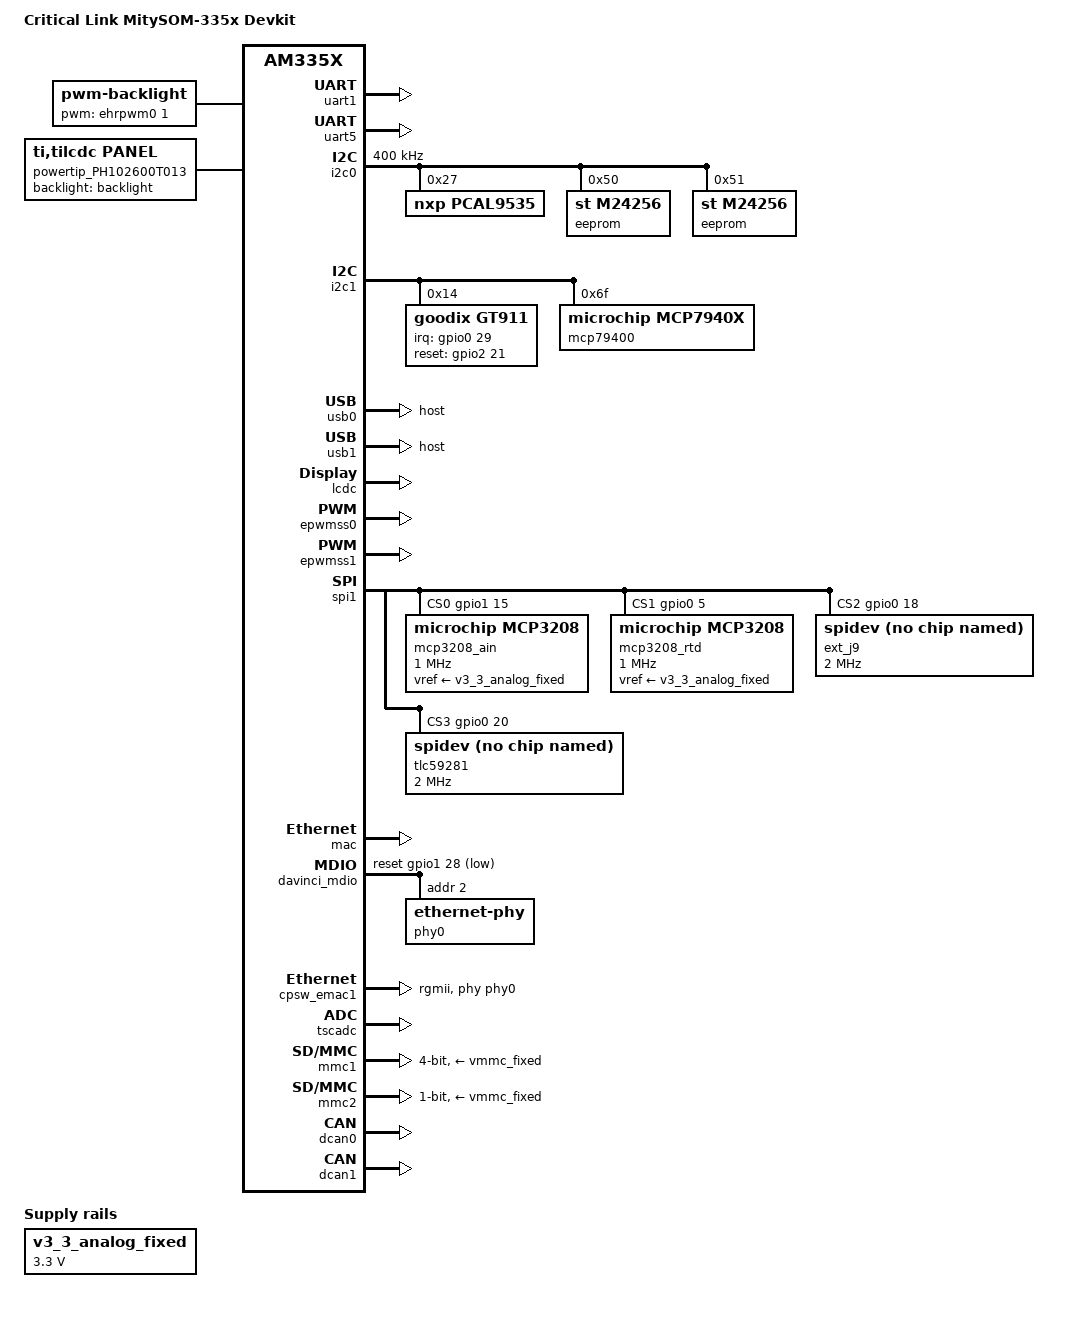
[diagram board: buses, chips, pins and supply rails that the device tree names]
/*
 * Copyright (C) 2012 Texas Instruments Incorporated - http://www.ti.com/
 *
 * This program is free software; you can redistribute it and/or modify
 * it under the terms of the GNU General Public License version 2 as
 * published by the Free Software Foundation.
 */
/dts-v1/;

#include "am335x-mitysom-common.dtsi"

/ {
	model = "Critical Link MitySOM-335x Devkit";

	backlight: backlight {
		compatible = "pwm-backlight";
		pwms = <&ehrpwm0 1 50000 0>;
		brightness-levels = <0 51 53 56 62 75 101 152 255>;
		default-brightness-level = <8>;
	};

	powertip_PH102600T013: lcd-controller@1 {
		compatible = "ti,tilcdc,panel";
		pinctrl-names = "default", "sleep";
		pinctrl-0 = <&lcd_pins_default>;
		pinctrl-1 = <&lcd_pins_sleep>;
		status = "ok";
		model = "powertip,PH102600T013";

		backlight = <&backlight>;
		// enable-gpios = <&gpio3 8 GPIO_ACTIVE_HIGH>;

		panel-info {
			ac-bias           = <255>;
			ac-bias-intrpt    = <0>;
			dma-burst-sz      = <16>;
			bpp               = <16>;
			fdd               = <0x80>;
			sync-edge         = <0>;
			sync-ctrl         = <1>;
			raster-order      = <0>;
			fifo-th           = <0>;
		};
		display-timings {
			1024x600 {
				clock-frequency = <51200000>;
				hactive = <1024>;
				vactive = <600>;
				hsync-len = <1>; 
				hfront-porch = <160>;
				hback-porch = <160>;
				vsync-len = <1>; 
				vfront-porch = <12>;
				vback-porch = <23>;
				hsync-active = <1>;
				vsync-active = <1>;
			};
		};
	};
};

&am33xx_pinmux {
	pinctrl-names = "default";
	pinctrl-0 = <&gpio_pins>;

	i2c0_pins: pinmux_i2c0_pins {
		pinctrl-single,pins = <
			AM33XX_IOPAD(0x988, PIN_INPUT_PULLUP | MUX_MODE0)	/* i2c0_sda.i2c0_sda external pullup */
			AM33XX_IOPAD(0x98C, PIN_INPUT_PULLUP | MUX_MODE0)	/* i2c0_scl.i2c0_scl external pullup */
		>;
	};

	dcan0_pins_default: dcan0_pins_default {
		pinctrl-single,pins = <
			AM33XX_IOPAD(0x91C, PIN_OUTPUT | MUX_MODE1) 		/* mii1_txd3.d_can0_tx */
			AM33XX_IOPAD(0x920, PIN_INPUT_PULLDOWN | MUX_MODE1) /* mii1_txd2.d_can1_rxd */
		>;
	};

	dcan1_pins_default: dcan1_pins_default {
		pinctrl-single,pins = <
			AM33XX_IOPAD(0x968, PIN_OUTPUT | MUX_MODE2) 		/* uart0_ctsn.dcan1_txd */
			AM33XX_IOPAD(0x96c, PIN_INPUT_PULLDOWN | MUX_MODE2) /* uart0_rtsn.dcan1_rxd */
		>;
	};

	/* MODBUS 1 */
	uart1_pins: pinmux_uart1_pins {
		pinctrl-single,pins = <
			AM33XX_IOPAD(0x958, PIN_INPUT_PULLDOWN | MUX_MODE7)	/* spi0_d1.gpio0_4 UART1_DIR */
			AM33XX_IOPAD(0x980, PIN_INPUT_PULLUP | MUX_MODE0)	/* uart1_rxd.uart1_rxd UART1_RX */
			AM33XX_IOPAD(0x984, PIN_OUTPUT_PULLDOWN | MUX_MODE0)	/* uart1_txd.uart1_txd UART1_TX */
		>;
	};

	/* MODBUS 2 */
	uart5_pins: pinmux_uart5_pins {
		pinctrl-single,pins = <
			AM33XX_IOPAD(0x928, PIN_INPUT_PULLDOWN | MUX_MODE7)	/* mii1_txd0.gpio0_28 UART5_DIR */
			AM33XX_IOPAD(0x908, PIN_INPUT_PULLUP | MUX_MODE3)	/* mii1_col..uart5_rxd UART4_RXD */
			AM33XX_IOPAD(0x918, PIN_OUTPUT_PULLDOWN | MUX_MODE3)	/* mii1_rxdv.uart5_txd UART4_TXD */
		>;
	};

	ehrpwm0_pins: ehrpwm0_pins {
		pinctrl-single,pins = <
			AM33XX_IOPAD(0x950, PIN_OUTPUT | MUX_MODE3)		/* spi0_sclk.ehrpwm0a Buzzer */
		        AM33XX_IOPAD(0x954, PIN_OUTPUT | MUX_MODE3)		/* spi0_d0.ehrpwm0b  Backlight*/

		>;
	};
	
	
	/* Conflicts with SPINOR SOMs */
	spi1_pins: pinmux_spi1_pins {
		pinctrl-single,pins = <
			AM33XX_IOPAD(0x95c, PIN_OUTPUT | MUX_MODE7)		/* spi0_cs0.gpio0_5 SPI1_CS1 external pullup */
			AM33XX_IOPAD(0x990, PIN_INPUT | MUX_MODE3)		/* mcasp0_aclkx.spi1_sclk */
			AM33XX_IOPAD(0x994, PIN_INPUT_PULLUP | MUX_MODE3)	/* mcasp0_fsx.spi1_d0 MOSI */
			AM33XX_IOPAD(0x998, PIN_INPUT | MUX_MODE3)		/* mcasp0_axr0.spi1_d1 MISO external pullup */
			AM33XX_IOPAD(0x99C, PIN_INPUT_PULLUP | MUX_MODE3)	/* mcasp0_ahclkr.spi1_cs0 SOM:CS0*/
			AM33XX_IOPAD(0x9B4, PIN_INPUT | MUX_MODE7)      	/* xdma_event_intr1.gpio0_20 7SEG_CS J16.48 external pullup */
			AM33XX_IOPAD(0xA1C, PIN_OUTPUT | MUX_MODE7)		/* usb0_drvvbus.gpio0_18 SPI1 EXT_CS external pullup */
		>;
	};

	cpsw_default: cpsw_default {
		pinctrl-single,pins = <
			/* Slave 1 - Removed in rev 12*/

		        /* Slave 2 */
			AM33XX_IOPAD(0x840, PIN_OUTPUT | MUX_MODE2)		/* gpmc_a0.rgmii2_tctl */
			AM33XX_IOPAD(0x844, PIN_INPUT_PULLDOWN | MUX_MODE2)	/* gpmc_a1.rgmii2_rctl */
			AM33XX_IOPAD(0x848, PIN_OUTPUT | MUX_MODE2)		/* gpmc_a2.rgmii2_td3  */
			AM33XX_IOPAD(0x84C, PIN_OUTPUT | MUX_MODE2)		/* gpmc_a3.rgmii2_td2  */
			AM33XX_IOPAD(0x850, PIN_OUTPUT | MUX_MODE2)		/* gpmc_a4.rgmii2_td1  */
			AM33XX_IOPAD(0x854, PIN_OUTPUT | MUX_MODE2)		/* gpmc_a5.rgmii2_td0  */
			AM33XX_IOPAD(0x858, PIN_OUTPUT | MUX_MODE2)		/* gpmc_a6.rgmii2_tclk */
			AM33XX_IOPAD(0x85C, PIN_INPUT_PULLDOWN | MUX_MODE2)	/* gpmc_a7.rgmii2_rclk */
			AM33XX_IOPAD(0x860, PIN_INPUT_PULLDOWN | MUX_MODE2)	/* gpmc_a8.rgmii2_rd3  */
			AM33XX_IOPAD(0x864, PIN_INPUT_PULLDOWN | MUX_MODE2)	/* gpmc_a9.rgmii2_rd2  */
			AM33XX_IOPAD(0x868, PIN_INPUT_PULLDOWN | MUX_MODE2)	/* gpmc_a10.rgmii2_rd1 */
			AM33XX_IOPAD(0x86C, PIN_INPUT_PULLDOWN | MUX_MODE2)	/* gpmc_a11.rgmii2_rd0 */
			AM33XX_IOPAD(0x88c, PIN_INPUT | MUX_MODE7)		/* gpmc_clk.gpio2_1 MII2_PHY_INTN external pullup */
			AM33XX_IOPAD(0x878, PIN_INPUT_PULLUP | MUX_MODE7)	/* gpmc_ben1.gpio1_28 MII2_RESETN */
		>;
	};

	davinci_mdio_default: davinci_mdio_default {
		pinctrl-single,pins = <
			/* MDIO */
			AM33XX_IOPAD(0x948, PIN_INPUT_PULLUP | SLEWCTRL_FAST| MUX_MODE0)	/* mdio_data.mdio_data */
			AM33XX_IOPAD(0x94C, PIN_OUTPUT_PULLUP | MUX_MODE0)			/* mdio_clk.mdio_clk */
		>;
	};

	davinci_mdio_sleep: davinci_mdio_sleep {
		pinctrl-single,pins = <
			/* MDIO reset value */
			AM33XX_IOPAD(0x948, PIN_INPUT_PULLDOWN | MUX_MODE7)
			AM33XX_IOPAD(0x94C, PIN_INPUT_PULLDOWN | MUX_MODE7)
		>;
	};

	/* Setup for MMC0 */
	mmc1_pins_default: pinmux_mmc1_pins {
		pinctrl-single,pins = <
			AM33XX_IOPAD(0x8F0, PIN_INPUT_PULLUP | MUX_MODE0)	/* mmc0_dat3.mmc0_dat3 */
			AM33XX_IOPAD(0x8F4, PIN_INPUT_PULLUP | MUX_MODE0)	/* mmc0_dat2.mmc0_dat2 */
			AM33XX_IOPAD(0x8F8, PIN_INPUT_PULLUP | MUX_MODE0)	/* mmc0_dat1.mmc0_dat1 */
			AM33XX_IOPAD(0x8FC, PIN_INPUT_PULLUP | MUX_MODE0)	/* mmc0_dat0.mmc0_dat0 */
			AM33XX_IOPAD(0x900, PIN_INPUT_PULLUP | MUX_MODE0)	/* mmc0_clk.mmc0_clk */
			AM33XX_IOPAD(0x904, PIN_INPUT_PULLUP | MUX_MODE0)	/* mmc0_cmd.mmc0_cmd */
		>;
	};

	/* Setup for MMC1 */
	wlan_pins_default: pinmux_wlan_pins {
		pinctrl-single,pins = <
			AM33XX_IOPAD(0x880, PIN_INPUT_PULLUP | MUX_MODE2) /* gpmc_csn1.mmc1_clk */
			AM33XX_IOPAD(0x884, PIN_INPUT_PULLUP | MUX_MODE2) /* gpmc_csn2.mmc1_cmd */
		>;
	};

	lcd_pins_default: lcd_pins_default {
		pinctrl-single,pins = <
			AM33XX_IOPAD(0x8A0, PIN_OUTPUT | MUX_MODE0)		/* lcd_data0.lcd_data0 */
			AM33XX_IOPAD(0x8A4, PIN_OUTPUT | MUX_MODE0)		/* lcd_data1.lcd_data1 */
			AM33XX_IOPAD(0x8A8, PIN_OUTPUT | MUX_MODE0)		/* lcd_data2.lcd_data2 */
			AM33XX_IOPAD(0x8AC, PIN_OUTPUT | MUX_MODE0)		/* lcd_data3.lcd_data3 */
			AM33XX_IOPAD(0x8B0, PIN_OUTPUT | MUX_MODE0)		/* lcd_data4.lcd_data4 */
			AM33XX_IOPAD(0x8B4, PIN_OUTPUT | MUX_MODE0)		/* lcd_data5.lcd_data5 */
			AM33XX_IOPAD(0x8B8, PIN_OUTPUT | MUX_MODE0)		/* lcd_data6.lcd_data6 */
			AM33XX_IOPAD(0x8BC, PIN_OUTPUT | MUX_MODE0)		/* lcd_data7.lcd_data7 */
			AM33XX_IOPAD(0x8C0, PIN_OUTPUT | MUX_MODE0)		/* lcd_data8.lcd_data8 */
			AM33XX_IOPAD(0x8C4, PIN_OUTPUT | MUX_MODE0)		/* lcd_data9.lcd_data9 */
			AM33XX_IOPAD(0x8C8, PIN_OUTPUT | MUX_MODE0)		/* lcd_data10.lcd_data10 */
			AM33XX_IOPAD(0x8CC, PIN_OUTPUT | MUX_MODE0)		/* lcd_data11.lcd_data11 */
			AM33XX_IOPAD(0x8D0, PIN_OUTPUT | MUX_MODE0)		/* lcd_data12.lcd_data12 */
			AM33XX_IOPAD(0x8D4, PIN_OUTPUT | MUX_MODE0)		/* lcd_data13.lcd_data13 */
			AM33XX_IOPAD(0x8D8, PIN_OUTPUT | MUX_MODE0)		/* lcd_data14.lcd_data14 */
		        AM33XX_IOPAD(0x8DC, PIN_OUTPUT | MUX_MODE0)		/* lcd_data15.lcd_data15 */
		        AM33XX_IOPAD(0x820, PIN_OUTPUT | MUX_MODE1)		/* gpmc_ad8.lcd_data16 */
		        AM33XX_IOPAD(0x824, PIN_OUTPUT | MUX_MODE1)		/* gpmc_ad9.lcd_data17 */
		        AM33XX_IOPAD(0x828, PIN_OUTPUT | MUX_MODE1)		/* gpmc_ad10.lcd_data18 */
		        AM33XX_IOPAD(0x82C, PIN_OUTPUT | MUX_MODE1)		/* gpmc_ad11.lcd_data19 */
		        AM33XX_IOPAD(0x830, PIN_OUTPUT | MUX_MODE1)		/* gpmc_ad12.lcd_data20 */
		        AM33XX_IOPAD(0x834, PIN_OUTPUT | MUX_MODE1)		/* gpmc_ad13.lcd_data21 */
		        AM33XX_IOPAD(0x838, PIN_OUTPUT | MUX_MODE1)		/* gpmc_ad14.lcd_data22 */
		        AM33XX_IOPAD(0x83C, PIN_OUTPUT | MUX_MODE1)		/* gpmc_ad15.lcd_data23 */
			AM33XX_IOPAD(0x8E0, PIN_OUTPUT_PULLDOWN | MUX_MODE0)	/* lcd_vsync.lcd_vsync */
			AM33XX_IOPAD(0x8E4, PIN_OUTPUT_PULLDOWN | MUX_MODE0)	/* lcd_hsync.lcd_hsync */
			AM33XX_IOPAD(0x8E8, PIN_OUTPUT_PULLDOWN | MUX_MODE0)	/* lcd_pclk.lcd_pclk */
			AM33XX_IOPAD(0x8EC, PIN_OUTPUT_PULLDOWN | MUX_MODE0)	/* lcd_ac_bias_en.lcd_ac_bias_en */
		>;
	};

	lcd_pins_sleep: lcd_pins_sleep {
		pinctrl-single,pins = <
			AM33XX_IOPAD(0x8A0, PULL_DISABLE | MUX_MODE7)		/* lcd_data0.lcd_data0 */
			AM33XX_IOPAD(0x8A4, PULL_DISABLE | MUX_MODE7)		/* lcd_data1.lcd_data1 */
			AM33XX_IOPAD(0x8A8, PULL_DISABLE | MUX_MODE7)		/* lcd_data2.lcd_data2 */
			AM33XX_IOPAD(0x8AC, PULL_DISABLE | MUX_MODE7)		/* lcd_data3.lcd_data3 */
			AM33XX_IOPAD(0x8B0, PULL_DISABLE | MUX_MODE7)		/* lcd_data4.lcd_data4 */
			AM33XX_IOPAD(0x8B4, PULL_DISABLE | MUX_MODE7)		/* lcd_data5.lcd_data5 */
			AM33XX_IOPAD(0x8B8, PULL_DISABLE | MUX_MODE7)		/* lcd_data6.lcd_data6 */
			AM33XX_IOPAD(0x8BC, PULL_DISABLE | MUX_MODE7)		/* lcd_data7.lcd_data7 */
			AM33XX_IOPAD(0x8C0, PULL_DISABLE | MUX_MODE7)		/* lcd_data8.lcd_data8 */
			AM33XX_IOPAD(0x8C4, PULL_DISABLE | MUX_MODE7)		/* lcd_data9.lcd_data9 */
			AM33XX_IOPAD(0x8C8, PULL_DISABLE | MUX_MODE7)		/* lcd_data10.lcd_data10 */
			AM33XX_IOPAD(0x8CC, PULL_DISABLE | MUX_MODE7)		/* lcd_data11.lcd_data11 */
			AM33XX_IOPAD(0x8D0, PULL_DISABLE | MUX_MODE7)		/* lcd_data12.lcd_data12 */
			AM33XX_IOPAD(0x8D4, PULL_DISABLE | MUX_MODE7)		/* lcd_data13.lcd_data13 */
		        AM33XX_IOPAD(0x8D8, PULL_DISABLE | MUX_MODE7)		/* lcd_data14.lcd_data14 */
		        AM33XX_IOPAD(0x8DC, PULL_DISABLE | MUX_MODE7)		/* lcd_data15.lcd_data15 */
		        AM33XX_IOPAD(0x820, PULL_DISABLE | MUX_MODE7)		/* gpmc_ad8.lcd_data16 */
		        AM33XX_IOPAD(0x824, PULL_DISABLE | MUX_MODE7)		/* gpmc_ad9.lcd_data17 */
		        AM33XX_IOPAD(0x828, PULL_DISABLE | MUX_MODE7)		/* gpmc_ad10.lcd_data18 */
		        AM33XX_IOPAD(0x82C, PULL_DISABLE | MUX_MODE7)		/* gpmc_ad11.lcd_data19 */
		        AM33XX_IOPAD(0x830, PULL_DISABLE | MUX_MODE7)		/* gpmc_ad12.lcd_data20 */
		        AM33XX_IOPAD(0x834, PULL_DISABLE | MUX_MODE7)		/* gpmc_ad13.lcd_data21 */
		        AM33XX_IOPAD(0x838, PULL_DISABLE | MUX_MODE7)		/* gpmc_ad14.lcd_data22 */
		        AM33XX_IOPAD(0x83C, PULL_DISABLE | MUX_MODE7)		/* gpmc_ad15.lcd_data23 */
			AM33XX_IOPAD(0x8E0, PIN_INPUT_PULLDOWN | MUX_MODE7)	/* lcd_vsync.lcd_vsync */
			AM33XX_IOPAD(0x8E4, PIN_INPUT_PULLDOWN | MUX_MODE7)	/* lcd_hsync.lcd_hsync */
			AM33XX_IOPAD(0x8E8, PIN_INPUT_PULLDOWN | MUX_MODE7)	/* lcd_pclk.lcd_pclk */
			AM33XX_IOPAD(0x8EC, PIN_INPUT_PULLDOWN | MUX_MODE7)	/* lcd_ac_bias_en.lcd_ac_bias_en */
		>;
	};

	ecap_pins: ecap_pins {
		pinctrl-single,pins = <
			AM33XX_IOPAD(0x964, PIN_INPUT | MUX_MODE0)		/* ecap0_in_pwm0_out.ecap0_in_pwm0_out ECAP J11.6 external pulldown*/
		>;
	};

	gpio_pins: gpio_pins {
		pinctrl-single,pins = <
			AM33XX_IOPAD(0x944, PIN_INPUT | MUX_MODE7)		/* rmii1_refclk.gpio0_29 TS_INT external pullup */
			AM33XX_IOPAD(0x9A0, PIN_INPUT_PULLDOWN | MUX_MODE7)	/* mcasp0_aclkr.gpio3_18 RTD_A1 */
			AM33XX_IOPAD(0x9A4, PIN_INPUT_PULLDOWN | MUX_MODE7) 	/* mcasp0_fsr.gpio3_19 RTD_A0 */
			AM33XX_IOPAD(0x9AC, PIN_INPUT_PULLDOWN | MUX_MODE7) 	/* mcasp0_ahclkx.gpio3_21 RTD_A2 */
			AM33XX_IOPAD(0x9B0, PIN_INPUT_PULLDOWN | MUX_MODE7) 	/* xdma_event_intr0.gpio0_19 7SEG_OFF J16.47 */
			AM33XX_IOPAD(0x9E4, PIN_INPUT | MUX_MODE7)		/* emu0.gpio3_7 BUZZER J16.41 */
			AM33XX_IOPAD(0x940, PIN_INPUT | MUX_MODE7)		/* mii1_rxd0.gpio2_21 DISP J16.30 */
		>;
	};
};




/* RS485 MODBUS 1 */
&uart1 {
	pinctrl-names = "default";
	pinctrl-0 = <&uart1_pins>;
	rts-gpio = <&gpio0 4 GPIO_ACTIVE_HIGH>;
	rs485-rts-delay =<0 0>;
	rs485-rts-active-high;
	/*rs485-rx-during-tx;*/
	linux,rs485-enabled-at-boot-time;
	status = "okay";
};

/* RS485 MODBUS 2 */
&uart5 {
	pinctrl-names = "default";
	pinctrl-0 = <&uart5_pins>;
	rts-gpio = <&gpio0 28 GPIO_ACTIVE_HIGH>;
	rs485-rts-delay =<0 0>;
	rs485-rts-active-high;
	/*rs485-rx-during-tx;*/
	linux,rs485-enabled-at-boot-time;
	status = "okay";
};


&i2c0 {
	pinctrl-names = "default";
	pinctrl-0 = <&i2c0_pins>;

	status = "okay";
	clock-frequency = <400000>;

	/* PCAL9535A 16-bit GPIO expander 0x27 */
	pcal9535: pcal9535@27 {
		compatible = "nxp,pcal9535";
		reg = <0x27>;
		gpio-controller;
		#gpio-cells = <2>;
		gpio-line-names =
		"RELAY_0", "RELAY_1", "RELAY_2", "RELAY_3",
		"", "", "", "",
		"TEMP_IN", "SPARE_IN", "DIGITAL_IN_4", "DIGITAL_IN_3",
		"DIGITAL_IN_2", "DIGITAL_IN_1", "", "";
	};

	eeprom@50 {
		compatible = "st,m24256", "st,24c256", "atmel,24c256";
		reg = <0x50>;
		pagesize = <64>;
	};

	eeprom@51 {
		compatible = "st,m24256", "st,24c256", "atmel,24c256";
		reg = <0x51>;
		pagesize = <64>;
	};

	/* MCP4728 12-bit Quad DAC 0x60 */
};

&i2c1 {
	/* SOM PMIC SmartReflex 0x12 */

	/* GT911 TSC 0x14 */
	gt911@14 {
		compatible = "goodix,gt911";
		reg = <0x14>;
		interrupt-parent = <&gpio0>;
		interrupts = <29 IRQ_TYPE_EDGE_FALLING>;

		irq-gpios = <&gpio0 29 GPIO_ACTIVE_HIGH>;
		// Workaround: Using DISP pin to reset touchscreen
		reset-gpios = <&gpio2 21 GPIO_ACTIVE_HIGH>;
		// touchscreen-swapped-x-y;
	};

	/* SOM Factory EEPROM 0x50 - 0x57 */

	/* MCP7940N RTC 0x6F */
	mcp79400: mcp79400@6f {
		compatible = "microchip,mcp7940x";
		reg = <0x6f>;
	};
};

&usb0 {
	status = "okay";
	dr_mode = "host";
};

&usb1 {
	status = "okay";
	dr_mode = "host";
};

&lcdc {
	status = "okay";
};

&epwmss0 {
	status = "okay";

	ehrpwm0: pwm@48300200 {
		status = "okay";
		pinctrl-names = "ehrpwm0_pins";
		pinctrl-0 = <&ehrpwm0_pins>;
	};
	ecap0: ecap@48300100 {
		compatible = "ti,am62-ecap-capture";
		status = "okay";
		pinctrl-names = "default";
		pinctrl-0 = <&ecap_pins>;
	};
};

&epwmss1 {
	status = "okay";
	
};

/ {
	v3_3_analog_fixed: fixedregulator@2 {
		compatible = "regulator-fixed";
		regulator-name = "v3.3_analog_fixed";
		regulator-min-microvolt = <3300000>;
		regulator-max-microvolt = <3300000>;
		regulator-boot-on;
	};
};

&spi1 {
	pinctrl-names = "default";
	pinctrl-0 = <&spi1_pins>;
	/* Not supported: CS0 On-SOM NOR */

	/* Note: spi1 crashes when using more than 4 channels */
	cs-gpios = <&gpio1 15 GPIO_ACTIVE_HIGH>, <&gpio0 5 GPIO_ACTIVE_HIGH>, <&gpio0 18 GPIO_ACTIVE_HIGH>, <&gpio0 20 GPIO_ACTIVE_HIGH>;

	/* SPI1_CS0 - gpio1_15 MCP3208 */
	mcp3208_ain@0 {
		compatible = "microchip,mcp3208";
		reg = <0>;
		spi-max-frequency = <1000000>;
		vref-supply = <&v3_3_analog_fixed>;

		/* channels = "AIN1", "AIN2", "AIN3", "AIN4"; */
	};

	/* SPI1_CS1 - gpio0_5 MCP3208 */
	mcp3208_rtd@1 {
		compatible = "microchip,mcp3208";
		reg = <1>;
		spi-max-frequency = <1000000>;
		vref-supply = <&v3_3_analog_fixed>;

		/* channels = "RTD_IN_HIGH", "RTD_IN_LOW", "AMBIENT"; */
	};

	/* EXT_CS - gpio0_18 J9 Connector */
	ext_j9: ext_j9@2 {
		compatible = "spidev";
		reg = <2>;
		status = "okay";

		spi-max-frequency = <2000000>;
	};

	/* 7SEG_CS - gpio0_20 */
	tlc59281: tlc59281@3 {
		compatible = "spidev";
		reg = <3>;
		status = "okay";

		spi-max-frequency = <2000000>;
	};
};

&mac {
	pinctrl-names = "default";
	pinctrl-0 = <&cpsw_default>;
	status = "okay";
};

&davinci_mdio {
	pinctrl-names = "default", "sleep";
	pinctrl-0 = <&davinci_mdio_default>;
	pinctrl-1 = <&davinci_mdio_sleep>;
	status = "okay";

	reset-gpios = <&gpio1 28 GPIO_ACTIVE_LOW>,
		      <&gpio3 20 GPIO_ACTIVE_LOW>;
	reset-delay-us = <2>;

	phy0: ethernet-phy@0 {
		reg = <2>;
		/* Restrict phy to 10/100 due to magnetics */
		max-speed = <100>;
	};
};

&cpsw_emac1 {
	phy-handle = <&phy0>;
	phy-mode = "rgmii";
	dual_emac_res_vlan = <1>;
};


/* ADC */
&tscadc {
	status = "okay";
	/* XR, YD, XL, YI, GND, 3.3V/2, 3.3V/2, GND */
	// tsc {
	// 	ti,wires = <4>;
	// 	ti,x-plate-resistance = <200>;
	// 	ti,coordinate-readouts = <5>;
	// 	ti,wire-config = <0x00 0x11 0x22 0x33>;
	// 	ti,charge-delay = <0x400>;
	// };

	adc {
		ti,adc-channels = <5 6>;
	};
};

&mmc1 {
	pinctrl-names = "default";
	pinctrl-0 = <&mmc1_pins_default>;
	status = "okay";
	vmmc-supply = <&vmmc_fixed>;
	bus-width = <4>;
};

&mmc2 {
	pinctrl-names = "default";
	pinctrl-0 = <&wlan_pins_default>;
	status = "okay";
	vmmc-supply = <&vmmc_fixed>;
	bus-width = <1>; // <4>;
	broken-cd; // Tell driver to poll for device insertion
	cap-sd-highspeed; // Try to enable 50Mhz mode
};

&dcan0 {
	status = "okay";
	pinctrl-names = "default";
	pinctrl-0 = <&dcan0_pins_default>;
};

&dcan1 {
	status = "okay";
	pinctrl-names = "default";
	pinctrl-0 = <&dcan1_pins_default>;
};


&rtc {
	system-power-controller;
};

